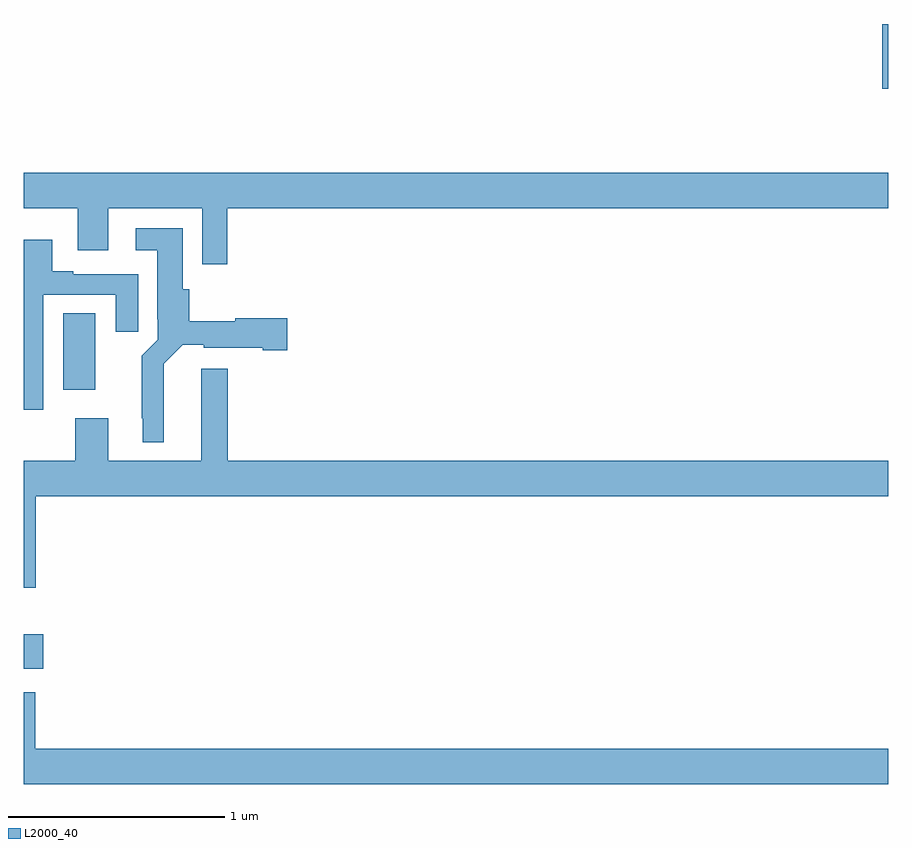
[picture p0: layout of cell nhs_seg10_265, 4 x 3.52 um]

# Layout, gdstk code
import gdstk
lib = gdstk.Library(unit=1e-6, precision=1e-09)
def R(c, l, rs):  # rectangles x0, y0, x1, y1
    for r in rs: c.add(gdstk.rectangle(r[:2], r[2:], *l))
def P(c, l, *ps):  # polygons
    for p in ps: c.add(gdstk.Polygon(p, *l))
L2000_40 = (2000, 40)

nhs_seg10_265 = lib.new_cell('nhs_seg10_265')
R(nhs_seg10_265, L2000_40, [(123,1299.518,123.091,1299.676), (123.182,1300.809,123.331,1301.162), (126.971,1302.201,127,1302.5)])
P(nhs_seg10_265, L2000_40, [(123.941,1301.648),(127,1301.648),(127,1301.812),(123,1301.812),(123,1301.648),(123.251,1301.648),(123.251,1301.454),(123.391,1301.454),(123.391,1301.648),(123.825,1301.648),(123.825,1301.388),(123.941,1301.388)],
  [(123.649,1300.928),(123.735,1301.015),(123.834,1301.015),(123.834,1301.003),(124.106,1301.003),(124.106,1300.991),(124.219,1300.991),(124.219,1301.138),(123.978,1301.138),(123.978,1301.125),(123.767,1301.125),(123.767,1301.274),(123.736,1301.274),(123.736,1301.554),(123.519,1301.554),(123.519,1301.453),(123.617,1301.453),(123.617,1301.134),(123.621,1301.134),(123.621,1301.04),(123.547,1300.966),(123.547,1300.675),(123.551,1300.675),(123.551,1300.565),(123.649,1300.565)],
  [(123.091,1301.247),(123.425,1301.247),(123.425,1301.076),(123.529,1301.076),(123.529,1301.343),(123.229,1301.343),(123.229,1301.356),(123.133,1301.356),(123.133,1301.503),(123,1301.503),(123,1300.716),(123.091,1300.716)],
  [(123.056,1300.316),(127,1300.316),(127,1300.48),(123.944,1300.48),(123.944,1300.906),(123.821,1300.906),(123.821,1300.48),(123.391,1300.48),(123.391,1300.675),(123.239,1300.675),(123.239,1300.48),(123,1300.48),(123,1299.891),(123.056,1299.891)],
  [(127,1299.148),(123.053,1299.148),(123.053,1299.409),(123,1299.409),(123,1298.984),(127,1298.984)])

lib.write_gds('nhs_seg10_265.gds')
